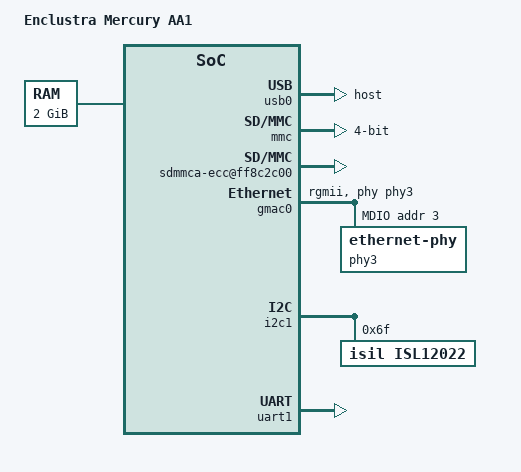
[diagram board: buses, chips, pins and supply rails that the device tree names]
// SPDX-License-Identifier: GPL-2.0
/dts-v1/;

#include "socfpga_arria10.dtsi"

/ {

	model = "Enclustra Mercury AA1";
	compatible = "altr,socfpga-arria10", "altr,socfpga";

	aliases {
		ethernet0 = &gmac0;
		serial1 = &uart1;
	};

	memory {
		name = "memory";
		device_type = "memory";
		reg = <0x0 0x80000000>; /* 2GB */
	};

	chosen {
		stdout-path = "serial1:115200n8";
	};
};

&osc1 {
	clock-frequency = <33330000>;
};

&usb0 {
	status = "okay";
	dr_mode = "host";
};

/* Following mappings are taken from arria10 socdk dts */
&mmc {
	status = "okay";
	cap-sd-highspeed;
	broken-cd;
	bus-width = <4>;
};

&eccmgr {
	sdmmca-ecc@ff8c2c00 {
		compatible = "altr,socfpga-sdmmc-ecc";
		reg = <0xff8c2c00 0x400>;
		altr,ecc-parent = <&mmc>;
		interrupts = <15 IRQ_TYPE_LEVEL_HIGH>,
			     <47 IRQ_TYPE_LEVEL_HIGH>,
			     <16 IRQ_TYPE_LEVEL_HIGH>,
			     <48 IRQ_TYPE_LEVEL_HIGH>;
	};
};

&gmac0 {
	phy-mode = "rgmii";
	phy-addr = <0xffffffff>; /* probe for phy addr */

	max-frame-size = <3800>;
	status = "okay";

	phy-handle = <&phy3>;

	mdio0 {
		#address-cells = <1>;
		#size-cells = <0>;
		compatible = "snps,dwmac-mdio";
		phy3: ethernet-phy@3 {
			txd0-skew-ps = <0>; /* -420ps */
			txd1-skew-ps = <0>; /* -420ps */
			txd2-skew-ps = <0>; /* -420ps */
			txd3-skew-ps = <0>; /* -420ps */
			rxd0-skew-ps = <420>; /* 0ps */
			rxd1-skew-ps = <420>; /* 0ps */
			rxd2-skew-ps = <420>; /* 0ps */
			rxd3-skew-ps = <420>; /* 0ps */
			txen-skew-ps = <0>; /* -420ps */
			txc-skew-ps = <1860>; /* 960ps */
			rxdv-skew-ps = <420>; /* 0ps */
			rxc-skew-ps = <1680>; /* 780ps */
			reg = <3>;
		};
	};
};

&i2c1 {
	status = "okay";
	isl12022: isl12022@6f {
		status = "okay";
		compatible = "isil,isl12022";
		reg = <0x6f>;
	};
};

&uart1 {
	status = "okay";
};

&qspi {
	status = "disabled";

	flash0: n25q00@0 {
		#address-cells = <1>;
		#size-cells = <1>;
		compatible = "n25q00";
		reg = <0>;
		spi-max-frequency = <50000000>;
		cdns,page-size = <256>;
		cdns,block-size = <16>;
		m25p,fast-read;
		cdns,read-delay = <4>;
		cdns,tshsl-ns = <200>;
		cdns,tsd2d-ns = <255>;
		cdns,tchsh-ns = <20>;
		cdns,tslch-ns = <20>;

		part0: qspi-boot@0 {
			label = "Flash 0 Raw Data";
			reg = <0x0 0x01340000>;
		};
		part1: qspi-rootfs@1320000 {
			label = "Flash 1 jffs2 Filesystem";
			reg = <0x01340000 0x2cc0000>;
		};
	};
};
